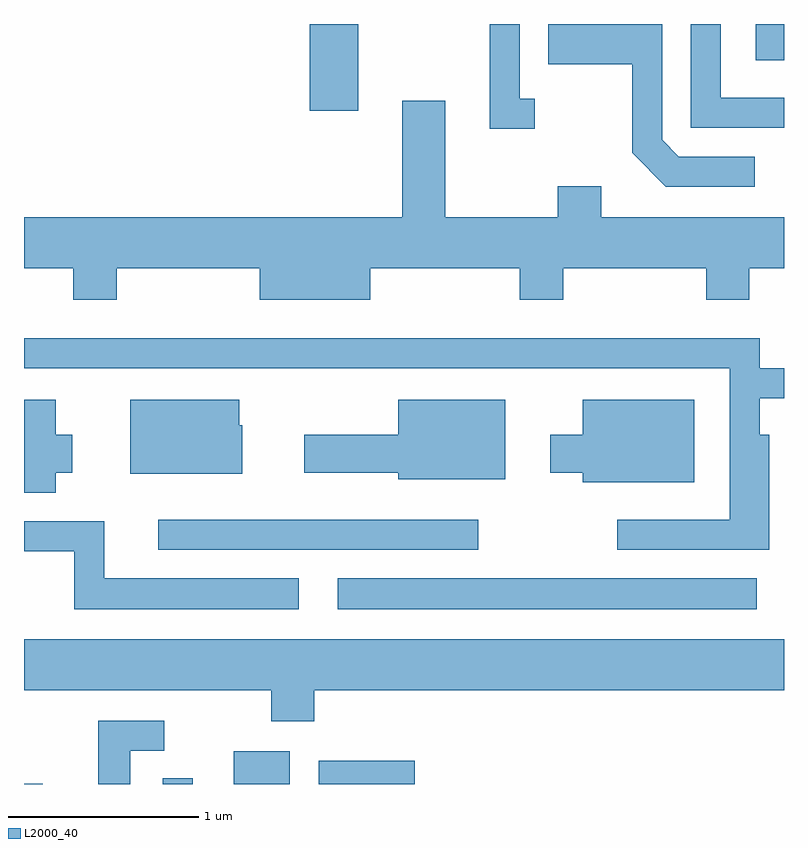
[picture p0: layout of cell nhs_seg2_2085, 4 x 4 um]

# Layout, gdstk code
import gdstk
lib = gdstk.Library(unit=1e-6, precision=1e-09)
def R(c, l, rs):  # rectangles x0, y0, x1, y1
    for r in rs: c.add(gdstk.rectangle(r[:2], r[2:], *l))
def P(c, l, *ps):  # polygons
    for p in ps: c.add(gdstk.Polygon(p, *l))
L2000_40 = (2000, 40)

nhs_seg2_2085 = lib.new_cell('nhs_seg2_2085')
R(nhs_seg2_2085, L2000_40, [(245.611,1067.802,245.709,1067.804), (246.341,1067.802,246.499,1067.833), (246.716,1067.802,247.009,1067.974), (247.161,1067.802,247.668,1067.924), (247.263,1068.721,249.468,1068.884), (246.318,1069.036,248.003,1069.194), (247.116,1071.346,247.369,1071.802), (249.461,1071.611,249.611,1071.802)])
P(nhs_seg2_2085, L2000_40, [(248.298,1071.409),(248.219,1071.409),(248.219,1071.802),(248.061,1071.802),(248.061,1071.251),(248.298,1071.251)],
  [(249.458,1071.104),(249.057,1071.104),(248.969,1071.192),(248.969,1071.802),(248.371,1071.802),(248.371,1071.591),(248.811,1071.591),(248.811,1071.124),(248.989,1070.946),(249.458,1070.946)],
  [(249.611,1071.414),(249.279,1071.414),(249.279,1071.802),(249.121,1071.802),(249.121,1071.256),(249.611,1071.256)],
  [(246.099,1070.516),(246.851,1070.516),(246.851,1070.351),(247.434,1070.351),(247.434,1070.516),(248.221,1070.516),(248.221,1070.351),(248.449,1070.351),(248.449,1070.516),(249.201,1070.516),(249.201,1070.351),(249.429,1070.351),(249.429,1070.516),(249.611,1070.516),(249.611,1070.784),(248.649,1070.784),(248.649,1070.949),(248.421,1070.949),(248.421,1070.784),(247.829,1070.784),(247.829,1071.399),(247.601,1071.399),(247.601,1070.784),(245.611,1070.784),(245.611,1070.516),(245.871,1070.516),(245.871,1070.351),(246.099,1070.351)],
  [(249.534,1069.639),(249.484,1069.639),(249.484,1069.831),(249.611,1069.831),(249.611,1069.989),(249.484,1069.989),(249.484,1070.149),(245.611,1070.149),(245.611,1069.991),(249.326,1069.991),(249.326,1069.194),(248.733,1069.194),(248.733,1069.036),(249.534,1069.036)],
  [(248.144,1069.824),(247.581,1069.824),(247.581,1069.639),(247.086,1069.639),(247.086,1069.441),(247.581,1069.441),(247.581,1069.406),(248.144,1069.406)],
  [(245.779,1069.441),(245.864,1069.441),(245.864,1069.639),(245.779,1069.639),(245.779,1069.824),(245.611,1069.824),(245.611,1069.336),(245.779,1069.336)],
  [(246.759,1069.69),(246.744,1069.69),(246.744,1069.824),(246.171,1069.824),(246.171,1069.436),(246.759,1069.436)],
  [(249.139,1069.824),(248.551,1069.824),(248.551,1069.639),(248.381,1069.639),(248.381,1069.441),(248.551,1069.441),(248.551,1069.391),(249.139,1069.391)],
  [(247.058,1068.884),(246.034,1068.884),(246.034,1069.184),(245.611,1069.184),(245.611,1069.026),(245.876,1069.026),(245.876,1068.721),(247.058,1068.721)],
  [(247.139,1068.296),(249.611,1068.296),(249.611,1068.564),(245.611,1068.564),(245.611,1068.296),(246.911,1068.296),(246.911,1068.131),(247.139,1068.131)],
  [(246.169,1067.976),(246.348,1067.976),(246.348,1068.134),(246.001,1068.134),(246.001,1067.802),(246.169,1067.802)])

lib.write_gds('nhs_seg2_2085.gds')
